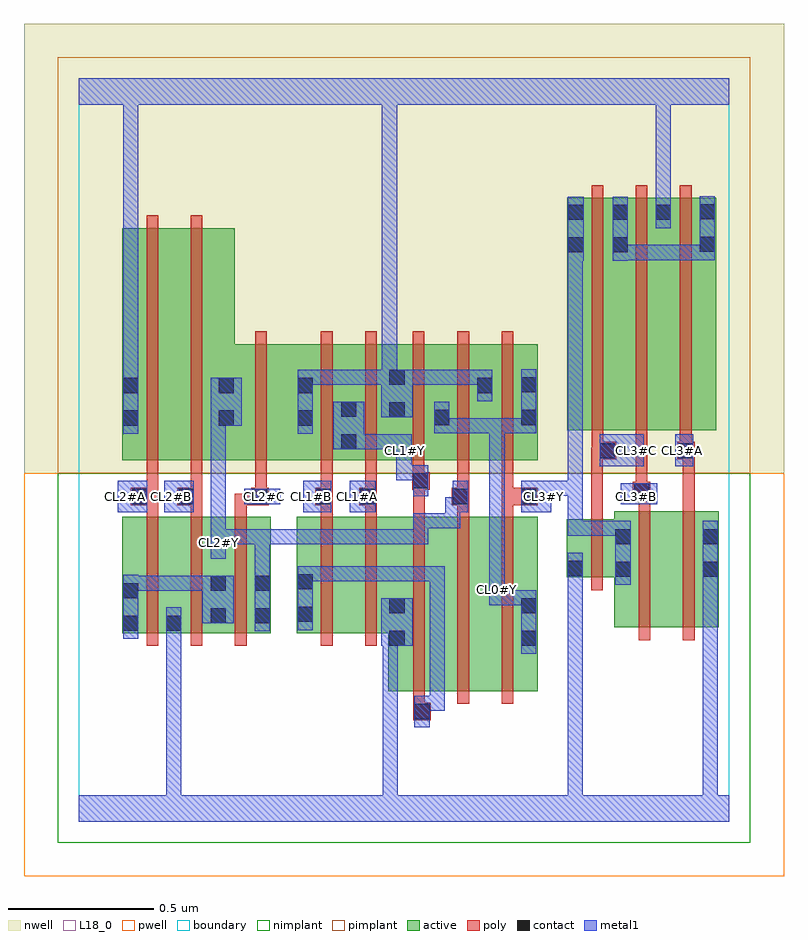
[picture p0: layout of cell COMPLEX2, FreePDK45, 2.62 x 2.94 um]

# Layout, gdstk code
import gdstk
lib = gdstk.Library(unit=1e-6, precision=1e-09)
def R(c, l, rs):  # rectangles x0, y0, x1, y1
    for r in rs: c.add(gdstk.rectangle(r[:2], r[2:], *l))
def A(c, l, x, y, w, h, nx, ny, dx, dy):  # array of equal rectangles
    R(c, l, [(x+i*dx, y+j*dy, x+i*dx+w, y+j*dy+h) for i in range(nx) for j in range(ny)])
active = (1, 0)
pwell = (2, 0)
nwell = (3, 0)
nimplant = (4, 0)
pimplant = (5, 0)
poly = (9, 0)
contact = (10, 0)
metal1 = (11, 0)
L18_0 = (18, 0)
boundary = (235, 0)

complex2 = lib.new_cell('COMPLEX2')
R(complex2, active, [(1.066,0.45,1.248,1.05), (1.248,0.45,1.4,1.05), (1.4,0.45,1.58,1.05), (1.066,0.556,1.126,0.792), (1.52,0.556,1.58,1.05), (0.15,0.65,0.358,1.05), (0.298,0.65,0.51,1.05), (0.45,0.65,0.662,1.05), (0.602,0.65,0.662,1.05), (0.75,0.65,0.93,1.05), (0.93,0.65,1.126,1.05), (0.15,0.654,0.21,1.05), (0.298,0.654,0.358,0.714), (1.844,0.67,2.024,1.07), (2.024,0.67,2.204,1.07), (2.144,0.67,2.204,1.07), (0.45,0.68,0.51,0.852), (0.75,0.684,0.81,1.05), (1.844,0.84,1.904,1.012), (1.68,0.842,1.904,1.042), (1.68,0.842,1.74,1.042), (0.15,1.244,0.33,2.044), (0.15,1.244,0.21,2.044), (0.33,1.244,0.538,2.044), (0.478,1.244,0.81,1.644), (0.75,1.244,0.96,1.644), (0.9,1.244,1.126,1.644), (1.066,1.244,1.28,1.644), (1.22,1.244,1.428,1.644), (1.368,1.244,1.58,1.644), (1.52,1.244,1.58,1.644), (0.9,1.278,0.96,1.644), (0.478,1.296,0.538,1.748), (0.75,1.296,0.81,1.644), (1.22,1.296,1.28,1.644), (1.368,1.296,1.428,1.644), (1.682,1.348,1.894,2.148), (1.682,1.348,1.742,2.128), (1.834,1.348,2.042,2.148), (1.982,1.348,2.194,2.148), (2.134,1.348,2.194,2.13), (1.834,1.35,1.894,2.128), (1.982,1.35,2.042,2.128), (1.066,1.388,1.126,1.644)])
R(complex2, pwell, [(-0.188,-0.188,2.428,1.2)])
R(complex2, nwell, [(-0.188,1.2,2.428,2.748)])
R(complex2, nimplant, [(-0.072,-0.072,2.312,1.2)])
R(complex2, pimplant, [(-0.072,1.2,2.312,2.632)])
A(complex2, poly, 1.152, 0.406, 0.04, 0.688, 3, 1, 0.152, 0)
A(complex2, poly, 0.234, 0.606, 0.04, 0.488, 3, 1, 0.152, 0)
A(complex2, poly, 0.234, 1.054, 0.04, 0.076, 3, 1, 0.152, 0)
A(complex2, poly, 1.766, 1.304, 0.04, 0.888, 3, 1, 0.152, 0)
R(complex2, poly, [(1.152,0.35,1.212,0.41), (1.152,0.37,1.192,0.446), (0.834,0.606,0.874,1.094), (0.986,0.606,1.026,1.094), (1.928,0.626,1.968,1.114), (2.08,0.626,2.12,1.114), (1.764,0.798,1.804,1.086), (1.764,1.046,1.804,1.288), (0.834,1.054,0.874,1.13), (0.986,1.054,1.026,1.13), (1.152,1.054,1.192,1.184), (1.304,1.054,1.344,1.13), (1.456,1.054,1.496,1.13), (1.928,1.074,1.968,1.15), (2.08,1.074,2.12,1.288), (0.18,1.09,0.274,1.15), (0.34,1.09,0.426,1.15), (0.538,1.09,0.634,1.13), (0.594,1.09,0.634,1.13), (0.594,1.09,0.654,1.15), (0.814,1.09,0.874,1.15), (0.834,1.09,0.874,1.13), (0.834,1.09,0.874,1.13), (0.966,1.09,1.026,1.15), (0.986,1.09,1.026,1.13), (0.986,1.09,1.026,1.13), (1.284,1.09,1.344,1.15), (1.456,1.09,1.58,1.15), (0.234,1.11,0.274,1.204), (0.386,1.11,0.426,1.15), (0.386,1.11,0.426,1.15), (0.386,1.11,0.426,1.24), (0.608,1.11,0.648,1.24), (0.834,1.11,0.874,1.24), (0.986,1.11,1.026,1.24), (1.304,1.11,1.344,1.15), (1.304,1.11,1.344,1.15), (1.304,1.11,1.344,1.24), (1.456,1.11,1.496,1.15), (1.456,1.11,1.496,1.15), (1.456,1.11,1.496,1.24), (1.908,1.11,1.968,1.17), (1.918,1.13,1.958,1.17), (1.918,1.13,1.958,1.17), (1.918,1.13,1.958,1.344), (1.148,1.144,1.208,1.204), (1.152,1.144,1.192,1.184), (1.152,1.144,1.192,1.184), (0.234,1.164,0.274,1.24), (0.234,1.164,0.274,1.204), (1.15,1.164,1.19,1.24), (0.234,1.2,0.274,2.088), (0.386,1.2,0.426,2.088), (0.608,1.2,0.648,1.688), (0.834,1.2,0.874,1.688), (0.986,1.2,1.026,1.688), (1.15,1.2,1.19,1.688), (1.304,1.2,1.344,1.688), (1.456,1.2,1.496,1.688), (1.764,1.248,1.806,1.288), (1.766,1.248,1.806,1.288), (1.766,1.248,1.85,1.308), (2.06,1.248,2.12,1.308), (1.766,1.268,1.806,1.344), (2.07,1.268,2.11,1.344), (2.07,1.268,2.11,1.308), (2.07,1.268,2.11,1.308)])
R(complex2, contact, [(1.156,0.354,1.208,0.406), (1.07,0.606,1.122,0.658), (1.524,0.606,1.576,0.658), (0.154,0.658,0.206,0.71), (0.302,0.658,0.354,0.71), (0.454,0.684,0.506,0.736), (0.606,0.684,0.658,0.736), (0.754,0.688,0.806,0.74), (1.07,0.718,1.122,0.77), (1.524,0.718,1.576,0.77), (0.154,0.77,0.206,0.822), (0.454,0.796,0.506,0.848), (0.606,0.796,0.658,0.848), (0.754,0.8,0.806,0.852), (1.848,0.844,1.9,0.896), (2.148,0.844,2.2,0.896), (1.684,0.846,1.736,0.898), (1.848,0.956,1.9,1.008), (2.148,0.956,2.2,1.008), (0.184,1.094,0.236,1.146), (0.344,1.094,0.396,1.146), (0.598,1.094,0.65,1.146), (0.818,1.094,0.87,1.146), (0.97,1.094,1.022,1.146), (1.288,1.094,1.34,1.146), (1.524,1.094,1.576,1.146), (1.912,1.114,1.964,1.166), (1.152,1.148,1.204,1.2), (1.794,1.252,1.846,1.304), (2.064,1.252,2.116,1.304), (0.904,1.282,0.956,1.334), (0.154,1.364,0.206,1.416), (0.482,1.364,0.534,1.416), (0.754,1.364,0.806,1.416), (1.224,1.366,1.276,1.418), (1.524,1.366,1.576,1.418), (1.07,1.392,1.122,1.444), (0.904,1.394,0.956,1.446), (0.154,1.476,0.206,1.528), (0.482,1.476,0.534,1.528), (0.754,1.476,0.806,1.528), (1.372,1.476,1.424,1.528), (1.524,1.478,1.576,1.53), (1.07,1.504,1.122,1.556), (1.686,1.96,1.738,2.012), (1.838,1.96,1.89,2.012), (2.138,1.962,2.19,2.014), (1.686,2.072,1.738,2.124), (1.838,2.072,1.89,2.124), (1.986,2.072,2.038,2.124), (2.138,2.074,2.19,2.126)])
R(complex2, metal1, [(0,0,2.24,0.092), (0.302,0.04,0.354,0.092), (0.302,0.04,0.354,0.092), (0.302,0.04,0.354,0.092), (0.302,0.04,0.354,0.092), (0.302,0.04,0.354,0.092), (0.302,0.04,0.354,0.092), (0.302,0.04,0.354,0.092), (0.302,0.04,0.354,0.092), (0.302,0.04,0.354,0.092), (0.302,0.04,0.354,0.092), (0.302,0.04,0.354,0.092), (0.302,0.04,0.354,0.092), (0.302,0.04,0.354,0.682), (1.046,0.04,1.098,0.092), (1.046,0.04,1.098,0.092), (1.046,0.04,1.098,0.092), (1.046,0.04,1.098,0.092), (1.046,0.04,1.098,0.092), (1.046,0.04,1.098,0.092), (1.046,0.04,1.098,0.092), (1.046,0.04,1.098,0.092), (1.046,0.04,1.098,0.658), (1.684,0.04,1.736,0.092), (1.684,0.04,1.736,0.092), (1.684,0.04,1.736,0.092), (1.684,0.04,1.736,0.092), (1.684,0.04,1.736,0.092), (1.684,0.04,1.736,0.092), (1.684,0.04,1.736,0.092), (1.684,0.04,1.736,0.092), (1.684,0.04,1.736,0.092), (1.684,0.04,1.736,0.092), (1.684,0.04,1.736,0.092), (1.684,0.04,1.736,0.092), (1.684,0.04,1.736,0.092), (1.684,0.04,1.736,0.092), (1.684,0.04,1.736,0.092), (1.684,0.04,1.736,0.092), (1.684,0.04,1.736,0.87), (2.148,0.04,2.2,0.868), (1.156,0.326,1.208,0.434), (1.156,0.382,1.26,0.434), (1.208,0.382,1.26,0.434), (1.208,0.382,1.26,0.434), (1.208,0.382,1.26,0.434), (1.208,0.382,1.26,0.434), (1.208,0.382,1.26,0.434), (1.208,0.382,1.26,0.88), (1.524,0.578,1.576,0.798), (1.042,0.606,1.15,0.77), (0.154,0.63,0.206,0.85), (0.302,0.63,0.354,0.738), (0.606,0.656,0.658,0.876), (0.754,0.66,0.806,0.88), (0.426,0.684,0.534,0.848), (1.414,0.746,1.576,0.798), (1.414,0.746,1.466,0.798), (1.414,0.746,1.466,0.798), (1.414,0.746,1.466,0.854), (1.524,0.746,1.576,0.798), (1.524,0.746,1.576,0.798), (0.154,0.796,0.206,0.848), (0.154,0.796,0.206,0.848), (0.154,0.796,0.368,0.848), (0.316,0.796,0.478,0.848), (0.316,0.796,0.368,0.848), (0.426,0.796,0.478,0.848), (0.426,0.796,0.478,0.848), (1.414,0.802,1.466,1.39), (1.848,0.816,1.9,1.036), (2.148,0.816,2.2,1.036), (2.148,0.816,2.2,0.868), (2.148,0.816,2.2,0.868), (2.148,0.816,2.2,0.868), (2.148,0.816,2.2,0.868), (2.148,0.816,2.2,0.868), (2.148,0.816,2.2,0.868), (2.148,0.816,2.2,0.868), (2.148,0.816,2.2,0.868), (2.148,0.816,2.2,0.868), (2.148,0.816,2.2,0.868), (2.148,0.816,2.2,0.868), (2.148,0.816,2.2,0.868), (1.684,0.818,1.736,0.926), (0.606,0.824,0.658,1.008), (0.754,0.828,0.806,0.88), (0.754,0.828,0.806,0.88), (0.754,0.828,0.984,0.88), (0.932,0.828,1.094,0.88), (0.932,0.828,0.984,0.88), (1.042,0.828,1.094,0.88), (1.042,0.828,1.094,0.88), (1.042,0.828,1.094,0.88), (1.042,0.828,1.214,0.88), (1.162,0.828,1.214,0.88), (1.162,0.828,1.26,0.88), (1.208,0.828,1.26,0.88), (1.208,0.828,1.26,0.88), (1.208,0.828,1.26,0.88), (1.208,0.828,1.26,0.88), (1.208,0.828,1.26,0.88), (1.208,0.828,1.26,0.88), (1.208,0.828,1.26,0.88), (0.454,0.906,0.506,1.014), (0.454,0.956,0.658,1.008), (0.606,0.956,0.658,1.008), (0.606,0.956,0.658,1.008), (0.606,0.956,0.658,1.008), (0.606,0.956,0.818,1.008), (0.766,0.956,0.928,1.008), (0.766,0.956,0.818,1.008), (0.766,0.956,0.818,1.008), (0.766,0.956,0.818,1.008), (0.876,0.956,0.928,1.008), (0.876,0.956,0.928,1.008), (0.876,0.956,0.928,1.008), (0.876,0.956,1.094,1.008), (1.042,0.956,1.204,1.008), (1.042,0.956,1.094,1.008), (1.152,0.956,1.204,1.062), (0.454,0.962,0.506,1.014), (0.454,0.962,0.506,1.014), (0.454,0.962,0.506,1.416), (1.684,0.984,1.736,1.036), (1.684,0.984,1.736,1.036), (1.684,0.984,1.736,1.036), (1.684,0.984,1.9,1.036), (1.684,0.984,1.736,1.174), (1.152,1.01,1.314,1.062), (1.262,1.01,1.314,1.118), (0.134,1.066,0.236,1.174), (0.294,1.066,0.396,1.174), (0.774,1.066,0.87,1.174), (0.934,1.066,1.022,1.174), (1.262,1.066,1.34,1.118), (1.288,1.066,1.34,1.174), (1.524,1.066,1.626,1.174), (0.57,1.094,0.694,1.146), (1.866,1.094,1.992,1.166), (1.152,1.12,1.204,1.228), (1.574,1.122,1.736,1.174), (1.574,1.122,1.626,1.174), (1.574,1.122,1.626,1.174), (1.684,1.122,1.736,1.174), (1.684,1.122,1.736,1.174), (1.684,1.122,1.736,1.174), (1.684,1.122,1.736,1.984), (1.094,1.176,1.204,1.228), (1.094,1.176,1.146,1.334), (1.794,1.224,1.946,1.334), (2.054,1.224,2.116,1.334), (0.876,1.282,0.984,1.446), (0.932,1.282,0.984,1.334), (0.932,1.282,0.984,1.334), (0.932,1.282,1.146,1.334), (1.094,1.282,1.146,1.334), (1.094,1.282,1.146,1.334), (0.154,1.336,0.206,1.556), (0.754,1.336,0.806,1.556), (1.224,1.338,1.276,1.446), (1.224,1.338,1.466,1.39), (1.414,1.338,1.576,1.39), (1.414,1.338,1.466,1.39), (1.414,1.338,1.466,1.39), (1.414,1.338,1.466,1.39), (1.414,1.338,1.466,1.39), (1.414,1.338,1.466,1.39), (1.524,1.338,1.576,1.558), (1.524,1.338,1.576,1.39), (1.524,1.338,1.576,1.39), (0.454,1.364,0.562,1.528), (1.042,1.392,1.15,1.556), (1.372,1.448,1.424,1.556), (0.154,1.504,0.206,1.556), (0.154,1.504,0.206,1.556), (0.154,1.504,0.206,2.52), (0.754,1.504,0.806,1.556), (0.754,1.504,0.806,1.556), (0.754,1.504,0.984,1.556), (0.932,1.504,1.094,1.556), (0.932,1.504,0.984,1.556), (0.932,1.504,0.984,1.556), (0.932,1.504,0.984,1.556), (1.044,1.504,1.096,2.52), (1.098,1.504,1.222,1.556), (1.17,1.504,1.222,1.556), (1.17,1.504,1.29,1.556), (1.238,1.504,1.29,1.556), (1.238,1.504,1.424,1.556), (1.372,1.504,1.424,1.556), (1.372,1.504,1.424,1.556), (1.684,1.932,1.738,2.152), (1.838,1.932,1.89,2.152), (1.838,1.934,1.89,1.986), (1.838,1.934,1.89,1.986), (1.838,1.934,2.08,1.986), (2.028,1.934,2.19,1.986), (2.028,1.934,2.08,1.986), (2.028,1.934,2.08,1.986), (2.028,1.934,2.08,1.986), (2.138,1.934,2.19,2.154), (1.986,2.044,2.038,2.152), (1.986,2.1,2.038,2.52), (0,2.468,2.24,2.56), (0.154,2.468,0.206,2.52), (0.154,2.468,0.206,2.52), (0.154,2.468,0.206,2.52), (0.154,2.468,0.206,2.52), (0.154,2.468,0.206,2.52), (0.154,2.468,0.206,2.52), (1.044,2.468,1.096,2.52), (1.044,2.468,1.096,2.52), (1.044,2.468,1.096,2.52), (1.044,2.468,1.096,2.52), (1.044,2.468,1.096,2.52), (1.044,2.468,1.096,2.52), (1.044,2.468,1.096,2.52), (1.044,2.468,1.096,2.52), (1.044,2.468,1.096,2.52), (1.044,2.468,1.096,2.52), (1.044,2.468,1.096,2.52), (1.044,2.468,1.096,2.52), (1.044,2.468,1.096,2.52), (1.044,2.468,1.096,2.52), (1.044,2.468,1.096,2.52), (1.044,2.468,1.096,2.52), (1.986,2.468,2.038,2.52), (1.986,2.468,2.038,2.52), (1.986,2.468,2.038,2.52), (1.986,2.468,2.038,2.52), (1.986,2.468,2.038,2.52), (1.986,2.468,2.038,2.52), (1.986,2.468,2.038,2.52), (1.986,2.468,2.038,2.52)])
A(complex2, L18_0, 0.614, 1.094, 0.052, 0.052, 3, 1, 0.16, 0)
R(complex2, L18_0, [(0,0,2.24,0.092), (0.302,0.04,0.354,0.092), (0.302,0.04,0.354,0.092), (0.302,0.04,0.354,0.092), (0.302,0.04,0.354,0.092), (0.302,0.04,0.354,0.092), (0.302,0.04,0.354,0.092), (0.302,0.04,0.354,0.092), (0.302,0.04,0.354,0.092), (0.302,0.04,0.354,0.092), (0.302,0.04,0.354,0.092), (0.302,0.04,0.354,0.092), (0.302,0.04,0.354,0.092), (0.302,0.04,0.354,0.682), (1.046,0.04,1.098,0.092), (1.046,0.04,1.098,0.092), (1.046,0.04,1.098,0.092), (1.046,0.04,1.098,0.092), (1.046,0.04,1.098,0.092), (1.046,0.04,1.098,0.092), (1.046,0.04,1.098,0.092), (1.046,0.04,1.098,0.092), (1.046,0.04,1.098,0.658), (1.684,0.04,1.736,0.092), (1.684,0.04,1.736,0.092), (1.684,0.04,1.736,0.092), (1.684,0.04,1.736,0.092), (1.684,0.04,1.736,0.092), (1.684,0.04,1.736,0.092), (1.684,0.04,1.736,0.092), (1.684,0.04,1.736,0.092), (1.684,0.04,1.736,0.092), (1.684,0.04,1.736,0.092), (1.684,0.04,1.736,0.092), (1.684,0.04,1.736,0.092), (1.684,0.04,1.736,0.092), (1.684,0.04,1.736,0.092), (1.684,0.04,1.736,0.092), (1.684,0.04,1.736,0.092), (1.684,0.04,1.736,0.87), (2.148,0.04,2.2,0.868), (1.156,0.326,1.208,0.434), (1.156,0.382,1.26,0.434), (1.208,0.382,1.26,0.434), (1.208,0.382,1.26,0.434), (1.208,0.382,1.26,0.434), (1.208,0.382,1.26,0.434), (1.208,0.382,1.26,0.434), (1.208,0.382,1.26,0.88), (1.524,0.578,1.576,0.798), (1.042,0.606,1.15,0.77), (0.302,0.63,0.354,0.738), (0.606,0.656,0.658,0.876), (0.754,0.66,0.806,0.88), (1.414,0.746,1.466,0.798), (1.414,0.746,1.466,0.798), (1.414,0.746,1.466,0.854), (1.414,0.746,1.576,0.798), (1.524,0.746,1.576,0.798), (1.524,0.746,1.576,0.798), (1.414,0.774,1.466,0.826), (1.414,0.802,1.466,1.39), (1.848,0.816,1.9,1.036), (2.148,0.816,2.2,1.036), (2.148,0.816,2.2,0.868), (2.148,0.816,2.2,0.868), (2.148,0.816,2.2,0.868), (2.148,0.816,2.2,0.868), (2.148,0.816,2.2,0.868), (2.148,0.816,2.2,0.868), (2.148,0.816,2.2,0.868), (2.148,0.816,2.2,0.868), (2.148,0.816,2.2,0.868), (2.148,0.816,2.2,0.868), (2.148,0.816,2.2,0.868), (2.148,0.816,2.2,0.868), (1.684,0.818,1.736,0.926), (0.606,0.824,0.658,1.008), (0.754,0.828,0.806,0.88), (0.754,0.828,0.806,0.88), (0.754,0.828,0.984,0.88), (0.932,0.828,0.984,0.88), (0.932,0.828,1.094,0.88), (1.042,0.828,1.094,0.88), (1.042,0.828,1.094,0.88), (1.042,0.828,1.094,0.88), (1.042,0.828,1.214,0.88), (1.162,0.828,1.214,0.88), (1.162,0.828,1.26,0.88), (1.208,0.828,1.26,0.88), (1.208,0.828,1.26,0.88), (1.208,0.828,1.26,0.88), (1.208,0.828,1.26,0.88), (1.208,0.828,1.26,0.88), (1.208,0.828,1.26,0.88), (1.208,0.828,1.26,0.88), (0.454,0.906,0.506,1.014), (0.454,0.934,0.506,0.986), (0.454,0.956,0.658,1.008), (0.606,0.956,0.658,1.008), (0.606,0.956,0.658,1.008), (0.606,0.956,0.658,1.008), (0.606,0.956,0.818,1.008), (0.766,0.956,0.818,1.008), (0.766,0.956,0.818,1.008), (0.766,0.956,0.818,1.008), (0.766,0.956,0.928,1.008), (0.876,0.956,0.928,1.008), (0.876,0.956,0.928,1.008), (0.876,0.956,0.928,1.008), (0.876,0.956,1.094,1.008), (1.042,0.956,1.094,1.008), (1.042,0.956,1.204,1.008), (1.152,0.956,1.204,1.062), (0.454,0.962,0.506,1.014), (0.454,0.962,0.506,1.014), (0.454,0.962,0.506,1.416), (1.684,0.984,1.736,1.036), (1.684,0.984,1.736,1.036), (1.684,0.984,1.736,1.036), (1.684,0.984,1.736,1.174), (1.684,0.984,1.9,1.036), (1.152,1.01,1.314,1.062), (1.262,1.01,1.314,1.118), (0.134,1.066,0.236,1.174), (0.294,1.066,0.396,1.174), (0.774,1.066,0.87,1.174), (0.934,1.066,1.022,1.174), (1.262,1.066,1.34,1.118), (1.288,1.066,1.34,1.174), (1.524,1.066,1.626,1.174), (0.134,1.094,0.186,1.146), (0.294,1.094,0.346,1.146), (0.57,1.094,0.694,1.146), (1.574,1.094,1.626,1.146), (1.866,1.094,1.992,1.166), (1.894,1.094,1.946,1.146), (1.152,1.12,1.204,1.228), (1.574,1.122,1.626,1.174), (1.574,1.122,1.626,1.174), (1.574,1.122,1.736,1.174), (1.684,1.122,1.736,1.174), (1.684,1.122,1.736,1.174), (1.684,1.122,1.736,1.174), (1.684,1.122,1.736,1.984), (1.094,1.176,1.146,1.334), (1.094,1.176,1.204,1.228), (1.794,1.224,1.946,1.334), (2.054,1.224,2.116,1.334), (1.094,1.254,1.146,1.306), (1.894,1.254,1.946,1.306), (2.054,1.254,2.106,1.306), (0.876,1.282,0.984,1.446), (0.932,1.282,0.984,1.334), (0.932,1.282,0.984,1.334), (0.932,1.282,1.146,1.334), (1.094,1.282,1.146,1.334), (1.094,1.282,1.146,1.334), (0.154,1.336,0.206,1.556), (0.754,1.336,0.806,1.556), (1.224,1.338,1.276,1.446), (1.224,1.338,1.466,1.39), (1.414,1.338,1.466,1.39), (1.414,1.338,1.466,1.39), (1.414,1.338,1.466,1.39), (1.414,1.338,1.466,1.39), (1.414,1.338,1.466,1.39), (1.414,1.338,1.576,1.39), (1.524,1.338,1.576,1.558), (1.524,1.338,1.576,1.39), (1.524,1.338,1.576,1.39), (0.454,1.364,0.562,1.528), (1.042,1.392,1.15,1.556), (1.372,1.448,1.424,1.556), (0.154,1.504,0.206,1.556), (0.154,1.504,0.206,1.556), (0.154,1.504,0.206,2.52), (0.754,1.504,0.806,1.556), (0.754,1.504,0.806,1.556), (0.754,1.504,0.984,1.556), (0.932,1.504,0.984,1.556), (0.932,1.504,0.984,1.556), (0.932,1.504,0.984,1.556), (0.932,1.504,1.094,1.556), (1.044,1.504,1.096,2.52), (1.098,1.504,1.222,1.556), (1.17,1.504,1.222,1.556), (1.17,1.504,1.29,1.556), (1.238,1.504,1.29,1.556), (1.238,1.504,1.424,1.556), (1.372,1.504,1.424,1.556), (1.372,1.504,1.424,1.556), (1.684,1.932,1.738,2.152), (1.986,2.044,2.038,2.152), (1.986,2.1,2.038,2.52), (0,2.468,2.24,2.56), (0.154,2.468,0.206,2.52), (0.154,2.468,0.206,2.52), (0.154,2.468,0.206,2.52), (0.154,2.468,0.206,2.52), (0.154,2.468,0.206,2.52), (0.154,2.468,0.206,2.52), (1.044,2.468,1.096,2.52), (1.044,2.468,1.096,2.52), (1.044,2.468,1.096,2.52), (1.044,2.468,1.096,2.52), (1.044,2.468,1.096,2.52), (1.044,2.468,1.096,2.52), (1.044,2.468,1.096,2.52), (1.044,2.468,1.096,2.52), (1.044,2.468,1.096,2.52), (1.044,2.468,1.096,2.52), (1.044,2.468,1.096,2.52), (1.044,2.468,1.096,2.52), (1.044,2.468,1.096,2.52), (1.044,2.468,1.096,2.52), (1.044,2.468,1.096,2.52), (1.044,2.468,1.096,2.52), (1.986,2.468,2.038,2.52), (1.986,2.468,2.038,2.52), (1.986,2.468,2.038,2.52), (1.986,2.468,2.038,2.52), (1.986,2.468,2.038,2.52), (1.986,2.468,2.038,2.52), (1.986,2.468,2.038,2.52), (1.986,2.468,2.038,2.52)])
R(complex2, boundary, [(0,0,2.24,2.56)])
complex2.add(gdstk.Label('CL0#Y', (1.44,0.8), layer=11, texttype=0))
complex2.add(gdstk.Label('CL1#A', (0.96,1.12), layer=11, texttype=0))
complex2.add(gdstk.Label('CL1#B', (0.8,1.12), layer=11, texttype=0))
complex2.add(gdstk.Label('CL1#Y', (1.12,1.28), layer=11, texttype=0))
complex2.add(gdstk.Label('CL2#A', (0.16,1.12), layer=11, texttype=0))
complex2.add(gdstk.Label('CL2#B', (0.32,1.12), layer=11, texttype=0))
complex2.add(gdstk.Label('CL2#C', (0.64,1.12), layer=11, texttype=0))
complex2.add(gdstk.Label('CL2#Y', (0.48,0.96), layer=11, texttype=0))
complex2.add(gdstk.Label('CL3#A', (2.08,1.28), layer=11, texttype=0))
complex2.add(gdstk.Label('CL3#B', (1.92,1.12), layer=11, texttype=0))
complex2.add(gdstk.Label('CL3#C', (1.92,1.28), layer=11, texttype=0))
complex2.add(gdstk.Label('CL3#Y', (1.6,1.12), layer=11, texttype=0))

lib.write_gds('COMPLEX2.gds')
